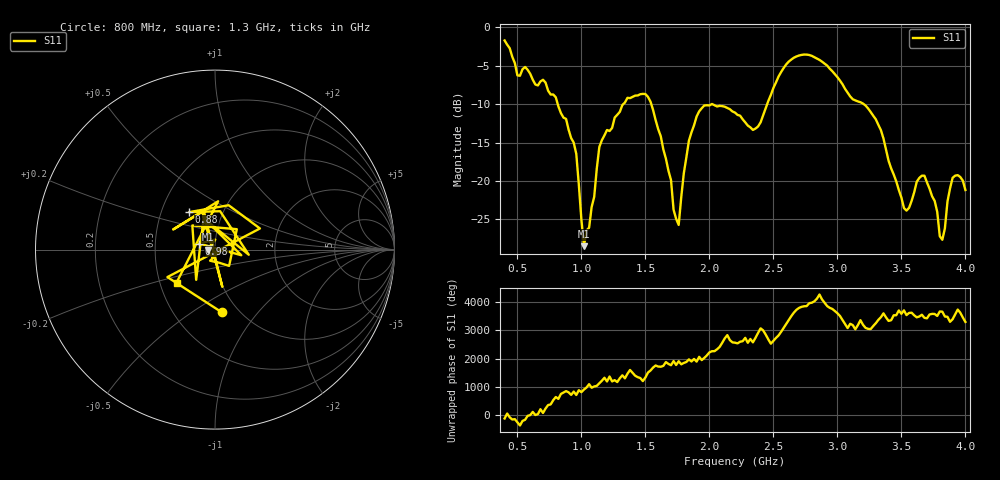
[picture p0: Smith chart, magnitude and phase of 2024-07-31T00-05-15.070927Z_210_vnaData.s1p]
!Created with skrf (http://scikit-rf.org).
# Hz S RI R 50.0
!freq ReS11 ImS11
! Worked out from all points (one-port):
!   181 points, 400 MHz to 4 GHz, reference 50 ohm
!   lowest |S11| = -28.5 dB at 1.02 GHz (marker M1), VSWR 1.08, Z = 46.4 - j0.0827 ohm
!   |S11| at or under -10 dB: 815.2 MHz to 1.327 GHz (511.3 MHz wide, 47.7 % of centre); 1.546 GHz to 2.017 GHz (470.8 MHz wide, 26.4 % of centre); 3.207 GHz to end of sweep (the widest 3 of 4)
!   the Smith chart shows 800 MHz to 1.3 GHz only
!   S11 on the Smith chart (normalised r, x): 800 MHz: 0.84, -0.66; 880 MHz: 0.69, +0.31; 980 MHz: 0.84, +0.06; 1.3 GHz: 0.61, -0.24
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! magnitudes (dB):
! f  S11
! 400 MHz  -1.7
! 500 MHz  -6.2
! 560 MHz  -5.1
! 800 MHz  -9.1
! 860 MHz  -11.7
! 880 MHz  -11.9
! 960 MHz  -16.5
! 980 MHz  -20.5
! 1.02 GHz  -28.5
! 1.1 GHz  -22.1
! 1.14 GHz  -15.6
! 1.3 GHz  -11.0
! 1.54 GHz  -9.7
! 1.76 GHz  -25.7
! 1.84 GHz  -14.7
! 1.92 GHz  -10.9
! 2.2 GHz  -11.1
! 2.38 GHz  -12.9
! 2.66 GHz  -3.9
! 2.86 GHz  -4.2
! 3.1 GHz  -9.0
! 3.3 GHz  -12.0
! 3.52 GHz  -23.5
! 3.56 GHz  -23.5
! 3.68 GHz  -19.3
! 3.82 GHz  -27.7
! 3.9 GHz  -19.6
! 4 GHz  -21.2
